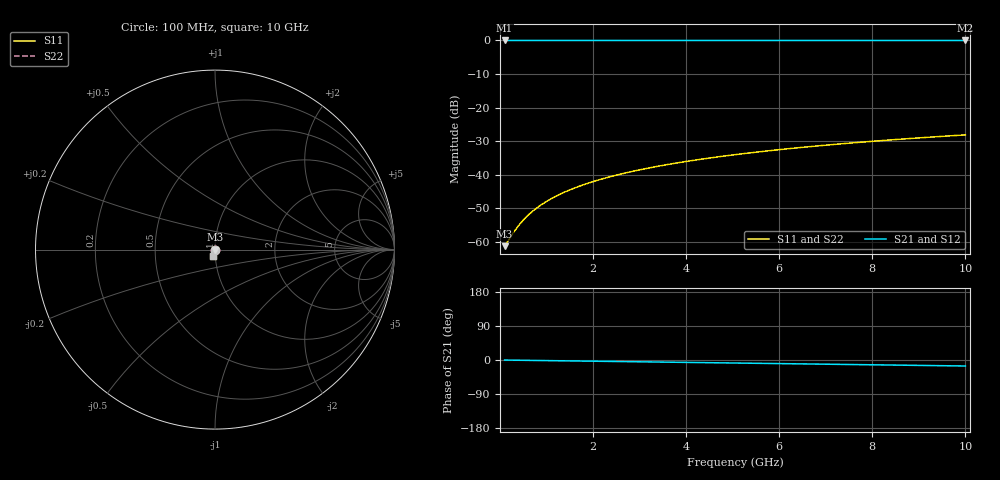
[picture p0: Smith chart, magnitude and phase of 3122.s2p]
# Hz S RI R 50.00
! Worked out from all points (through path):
!   100 points, 100 MHz to 10 GHz, reference 50 ohm
!   highest |S21| = -0.01 dB at 100 MHz (marker M1); lowest = 0.0 dB at 10 GHz (marker M2)
!   group delay of S21, straight-line fit = 4.4 ps
!   lowest |S11| = -61.2 dB at 100 MHz (marker M3), VSWR 1.00, Z = 50.1 - j0.0397 ohm
!   |S11| at or under -10 dB: start of sweep to end of sweep
!   |S22| runs from -61.2 to -28.1 dB; largest |S21 - S12| = 0
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1e8  0.000774 -0.000396  0.9992 -0.00275  0.9992 -0.00275  0.000774 -0.000396
3e8  0.000771 -0.00119  0.9992 -0.00825  0.9992 -0.00825  0.000771 -0.00119
4e8  0.000765 -0.00159  0.9991 -0.011  0.9991 -0.011  0.000765 -0.00159
5e8  0.000756 -0.00198  0.9991 -0.0137  0.9991 -0.0137  0.000756 -0.00198
6e8  0.000745 -0.00238  0.9991 -0.0165  0.9991 -0.0165  0.000745 -0.00238
7e8  0.000732 -0.00278  0.999 -0.0192  0.999 -0.0192  0.000732 -0.00278
8e8  0.000716 -0.00317  0.9989 -0.022  0.9989 -0.022  0.000716 -0.00317
1e9  0.000678 -0.00396  0.9988 -0.0275  0.9988 -0.0275  0.000678 -0.00396
1.2e9  0.00063 -0.00476  0.9986 -0.033  0.9986 -0.033  0.00063 -0.00476
1.5e9  0.000542 -0.00595  0.9983 -0.0412  0.9983 -0.0412  0.000542 -0.00595
1.8e9  0.000434 -0.00713  0.9979 -0.0495  0.9979 -0.0495  0.000434 -0.00713
2.1e9  0.000305 -0.00832  0.9974 -0.0577  0.9974 -0.0577  0.000305 -0.00832
2.5e9  0.000104 -0.0099  0.9967 -0.0687  0.9967 -0.0687  0.000104 -0.0099
2.9e9  -0.000133 -0.0115  0.9959 -0.0797  0.9959 -0.0797  -0.000133 -0.0115
3.4e9  -0.000478 -0.0134  0.9946 -0.0934  0.9946 -0.0934  -0.000478 -0.0134
4.2e9  -0.00114 -0.0166  0.9923 -0.1153  0.9923 -0.1153  -0.00114 -0.0166
5.1e9  -0.00206 -0.0201  0.989 -0.1399  0.989 -0.1399  -0.00206 -0.0201
5.9e9  -0.00302 -0.0231  0.9856 -0.1618  0.9856 -0.1618  -0.00302 -0.0231
6.7e9  -0.00411 -0.0261  0.9817 -0.1835  0.9817 -0.1835  -0.00411 -0.0261
7.5e9  -0.00534 -0.0291  0.9773 -0.2052  0.9773 -0.2052  -0.00534 -0.0291
8.4e9  -0.00688 -0.0324  0.9717 -0.2295  0.9717 -0.2295  -0.00688 -0.0324
1e10  -0.01 -0.038  0.9603 -0.2724  0.9603 -0.2724  -0.01 -0.038
